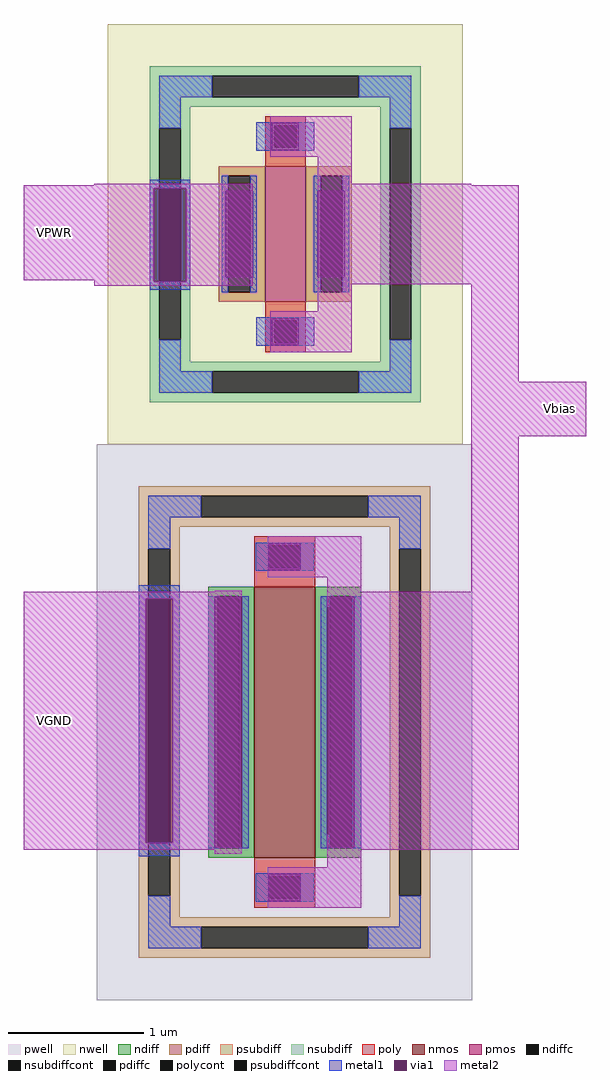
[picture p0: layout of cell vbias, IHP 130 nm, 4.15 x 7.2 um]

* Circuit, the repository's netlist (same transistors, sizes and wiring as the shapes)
** sch_path: /home/anton/projects/ttihp26b-analog-junk/xschem/vbias.sch
.subckt vbias VPWR VGND Vbias
*.PININFO VPWR:B Vbias:O VGND:B
MM1 Vbias Vbias VGND VGND sg13_lv_nmos w=2.00u l=0.45u ng=1
MM2 Vbias Vbias VPWR VPWR sg13_lv_pmos w=1.00u l=0.30u ng=1
.ends

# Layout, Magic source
magic
tech ihp-sg13g2
magscale 1 2
<< nwell >>
rect 234 1108 284 1162
<< pwell >>
rect 248 488 298 552
rect 248 72 298 152
<< metal1 >>
rect -14 1106 46 1118
rect -14 968 -8 1106
rect 40 968 46 1106
rect -14 956 46 968
rect -30 500 30 520
rect -30 140 -20 500
rect 20 140 30 500
rect -30 120 30 140
<< via1 >>
rect -8 968 40 1106
rect -20 140 20 500
<< metal2 >>
rect 164 1152 284 1212
rect 234 1112 284 1152
rect -96 1110 138 1112
rect -200 1106 138 1110
rect -200 970 -8 1106
rect -96 968 -8 970
rect 40 968 138 1106
rect -96 962 138 968
rect 234 1110 460 1112
rect 234 964 530 1110
rect 234 924 284 964
rect 164 864 284 924
rect 460 820 530 964
rect 460 740 630 820
rect 160 532 298 592
rect 248 510 298 532
rect 460 510 530 740
rect -200 500 120 510
rect -200 140 -20 500
rect 20 140 120 500
rect 248 488 530 510
rect 250 152 530 488
rect -200 130 120 140
rect 248 130 530 152
rect 248 104 298 130
rect 160 44 298 104
use sg13_lv_nmos_WZWL4E  sg13_lv_nmos_WZWL4E_0
transform 1 0 185 0 1 318
box -277 -410 277 410
use sg13_lv_pmos_P4FHLC  sg13_lv_pmos_P4FHLC_0
transform 1 0 186 0 1 1038
box -262 -310 262 310
<< labels >>
flabel metal2 550 740 630 820 0 FreeSans 240 0 0 0 Vbias
port 0 nsew
flabel metal2 -200 970 -110 1110 0 FreeSans 240 90 0 0 VPWR
port 1 nsew
flabel metal2 -200 130 -110 510 0 FreeSans 240 90 0 0 VGND
port 2 nsew
<< end >>

# cell sg13_lv_nmos_WZWL4E: kit device sg13_lv_nmos, w 2 l 0.45 m 1 ng 1 diffcov 100 polycov 100 guard 1 glc 1 grc 1 gtc 1 gbc 1 tbcov 100 rlcov 100 topc 1 botc 1 poverlap 0 doverlap 1 lmin 0.13 wmin 0.15 class mosfet compatible {sg13_lv_nmos sg13_hv_nmos} full_metal 1 conn_gates 0 gate_ring 0 doports 1 viasrc 100 viadrn 100 viagate 100 ccols 1 viagb 0 viagr 0 viagl 0 viagt 0

# cell sg13_lv_pmos_P4FHLC: kit device sg13_lv_pmos, w 1 l 0.3 m 1 ng 1 diffcov 100 polycov 100 guard 1 glc 1 grc 1 gtc 1 gbc 1 tbcov 100 rlcov 100 topc 1 botc 1 poverlap 0 doverlap 1 lmin 0.13 wmin 0.15 class mosfet compatible {sg13_lv_pmos sg13_hv_pmos} full_metal 1 conn_gates 0 gate_ring 0 ccols 1 viasrc 100 viadrn 100 viagate 100 viagb 0 viagr 0 viagl 0 viagt 0 doports 1
